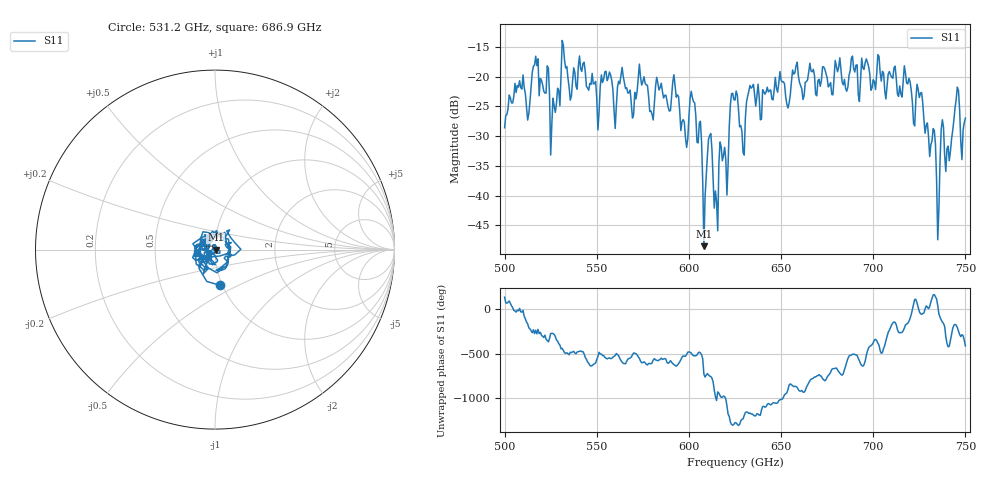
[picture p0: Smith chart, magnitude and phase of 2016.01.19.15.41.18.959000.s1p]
!Created with skrf (http://scikit-rf.org).
# GHz S RI R 50.0
!freq ReS11 ImS11
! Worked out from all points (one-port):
!   401 points, 500 GHz to 750 GHz, reference 50 ohm
!   lowest |S11| = -48.5 dB at 608.1 GHz (marker M1), VSWR 1.01, Z = 50.4 - j0.0744 ohm
!   |S11| at or under -10 dB: start of sweep to end of sweep
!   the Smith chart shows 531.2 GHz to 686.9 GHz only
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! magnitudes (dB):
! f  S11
! 500 GHz  -28.6
! 506.9 GHz  -21.5
! 513.1 GHz  -26.2
! 516.9 GHz  -16.6
! 526.2 GHz  -23.6
! 531.2 GHz  -13.9
! 550.6 GHz  -29.0
! 562.5 GHz  -21.2
! 574.4 GHz  -21.4
! 580 GHz  -26.4
! 593.8 GHz  -23.1
! 598.1 GHz  -30.3
! 602.5 GHz  -24.2
! 608.1 GHz  -48.5
! 611.2 GHz  -29.9
! 615 GHz  -41.0
! 625 GHz  -23.9
! 628.8 GHz  -29.2
! 633.8 GHz  -21.9
! 656.2 GHz  -18.9
! 687.5 GHz  -19.0
! 718.8 GHz  -21.2
! 732.5 GHz  -28.7
! 735 GHz  -47.4
! 737.5 GHz  -27.2
! 740.6 GHz  -31.7
! 745 GHz  -23.8
! 750 GHz  -27.0
